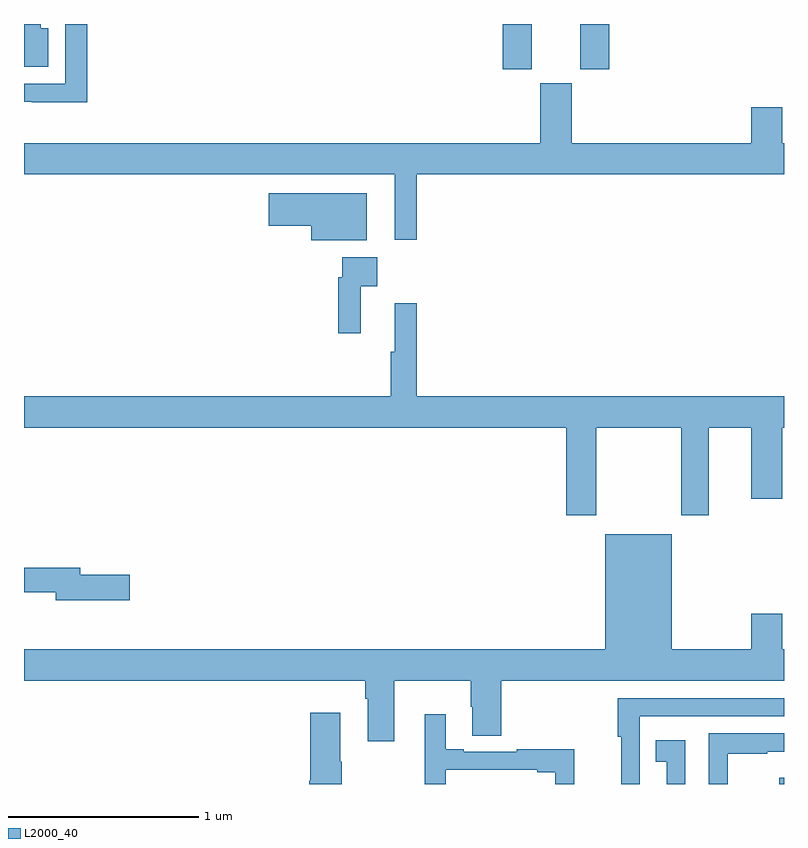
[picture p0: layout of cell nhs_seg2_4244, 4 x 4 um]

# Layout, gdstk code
import gdstk
lib = gdstk.Library(unit=1e-6, precision=1e-09)
def R(c, l, rs):  # rectangles x0, y0, x1, y1
    for r in rs: c.add(gdstk.rectangle(r[:2], r[2:], *l))
def P(c, l, *ps):  # polygons
    for p in ps: c.add(gdstk.Polygon(p, *l))
L2000_40 = (2000, 40)

nhs_seg2_4244 = lib.new_cell('nhs_seg2_4244')
R(nhs_seg2_4244, L2000_40, [(344.974,605.8,345,605.833), (343.52,609.561,343.672,609.8), (343.928,609.561,344.081,609.8)])
P(nhs_seg2_4244, L2000_40, [(341.333,609.8),(341.217,609.8),(341.217,609.486),(341,609.486),(341,609.39),(341.041,609.39),(341.041,609.389),(341.333,609.389)],
  [(341.128,609.778),(341.089,609.778),(341.089,609.8),(341,609.8),(341,609.575),(341.128,609.575)],
  [(343.067,609.008),(345,609.008),(345,609.172),(344.992,609.172),(344.992,609.361),(344.828,609.361),(344.828,609.172),(343.882,609.172),(343.882,609.489),(343.718,609.489),(343.718,609.172),(341,609.172),(341,609.008),(342.95,609.008),(342.95,608.664),(343.067,608.664)],
  [(342.805,608.908),(342.288,608.908),(342.288,608.738),(342.512,608.738),(342.512,608.663),(342.805,608.663)],
  [(342.773,608.42),(342.859,608.42),(342.859,608.572),(342.675,608.572),(342.675,608.468),(342.655,608.468),(342.655,608.172),(342.773,608.172)],
  [(344.013,607.676),(344.458,607.676),(344.458,607.215),(344.605,607.215),(344.605,607.676),(344.828,607.676),(344.828,607.302),(344.992,607.302),(344.992,607.676),(345,607.676),(345,607.84),(343.067,607.84),(343.067,608.329),(342.95,608.329),(342.95,608.076),(342.931,608.076),(342.931,607.84),(341,607.84),(341,607.676),(343.853,607.676),(343.853,607.215),(344.013,607.215)],
  [(345,606.508),(344.992,606.508),(344.992,606.697),(344.828,606.697),(344.828,606.508),(344.41,606.508),(344.41,607.114),(344.06,607.114),(344.06,606.508),(341,606.508),(341,606.344),(342.797,606.344),(342.797,606.248),(342.809,606.248),(342.809,606.024),(342.949,606.024),(342.949,606.344),(343.351,606.344),(343.351,606.206),(343.358,606.206),(343.358,606.055),(343.511,606.055),(343.511,606.344),(345,606.344)],
  [(341.557,606.902),(341.296,606.902),(341.296,606.938),(341,606.938),(341,606.81),(341.168,606.81),(341.168,606.767),(341.557,606.767)],
  [(344.242,605.828),(344.241,605.828),(344.241,606.156),(345,606.156),(345,606.252),(344.125,606.252),(344.125,606.049),(344.143,606.049),(344.143,605.8),(344.242,605.8)],
  [(342.672,605.917),(342.664,605.917),(342.664,606.175),(342.506,606.175),(342.506,605.817),(342.5,605.817),(342.5,605.8),(342.672,605.8)],
  [(343.219,605.874),(343.7,605.874),(343.7,605.862),(343.796,605.862),(343.796,605.8),(343.896,605.8),(343.896,605.983),(343.594,605.983),(343.594,605.97),(343.315,605.97),(343.315,605.983),(343.219,605.983),(343.219,606.166),(343.109,606.166),(343.109,605.921),(343.11,605.921),(343.11,605.8),(343.219,605.8)],
  [(344.705,605.958),(344.912,605.958),(344.912,605.969),(345,605.969),(345,606.066),(344.604,606.066),(344.604,605.8),(344.705,605.8)],
  [(344.481,606.031),(344.326,606.031),(344.326,605.918),(344.384,605.918),(344.384,605.8),(344.481,605.8)])

lib.write_gds('nhs_seg2_4244.gds')
